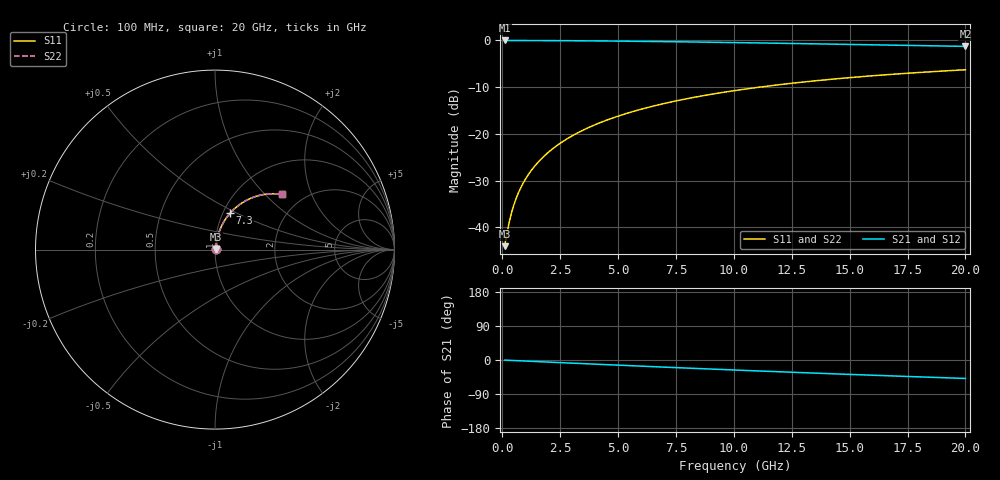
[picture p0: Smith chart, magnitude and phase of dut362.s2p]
! Touchstone file exported from HFSS 2026.1.0
!  File:  C:/ffzhzh/LocalFiles/Ansys_Project_Files/temp_train_TMRDL_362_1783004207_55676.aedt
!  Generated:  10:58:14 PM Jul  2, 2026
!  Design:  TMRDL
!  Project:  temp_train_TMRDL_362_1783004207_55676
! Variables:
!  h_bsmrdl = 2um
!  h_ox = 20um
!  h_rdl = 5um
!  h_sub = 80um
!  h_tmrdl = 3.93um
!  h_tsv = 80um
!  h_via = 3um
!  l_bsmrdl = 300um
!  l_sub = 1111.08um
!  l_tmrdl = 711.08um
!  m_sub = 200um
!  pitch = 38.19um
!  r_tsv = 6um
!  s_tmrdl = 10um
!  w_bsmrdl = 18um
!  w_sub = 500um
!  w_tmrdl = 12.11um
!  x_tsv_center1 = 717.135um
!  x_tsv_center2 = 1035.135um
!  x_tsv_center3 = 1758.325um
!  x_tsv_center4 = 2076.325um
!  x_tsv_center5 = 2799.515um
!  x_tsv_center6 = 3117.515um
# GHz S MA R 50.000000
! Terminal data exported
! Port[1] = TM_RDL1_1_T1
! Port[2] = TM_RDL1_1_T2
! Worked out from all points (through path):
!   200 points, 100 MHz to 20 GHz, reference 50 ohm
!   highest |S21| = -0.05 dB at 100 MHz (marker M1); lowest = -1.3 dB at 20 GHz (marker M2)
!   group delay of S21, straight-line fit = 6.77 ps
!   lowest |S11| = -44.0 dB at 100 MHz (marker M3), VSWR 1.01, Z = 50.5 + j0.336 ohm
!   |S11| at or under -10 dB: start of sweep to 11.16 GHz
!   |S22| runs from -44.0 to -6.3 dB; largest |S21 - S12| = 2.6e-15
!   S11 on the Smith chart (normalised r, x): 100 MHz: 1.01, +0.01; 7.3 GHz: 1.08, +0.46; 20 GHz: 1.57, +1.26
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0.1  0.006279 31.9  0.9947 -0.3  0.9947 -0.3  0.006279 31.9
! Gamma 0 0 0 0
! Port Impedance 50 0 50 0
0.2  0.008578 50.5  0.9946 -0.6  0.9946 -0.6  0.008578 50.5
0.3  0.01137 60.2  0.9944 -0.9  0.9944 -0.9  0.01137 60.2
0.4  0.01434 65.7  0.9943 -1.1  0.9943 -1.1  0.01434 65.7
0.5  0.01736 69.2  0.9941 -1.4  0.9941 -1.4  0.01736 69.2
0.6  0.02041 71.6  0.9939 -1.7  0.9939 -1.7  0.02041 71.6
0.8  0.02655 74.6  0.9936 -2.2  0.9936 -2.2  0.02655 74.6
1.1  0.0358 76.8  0.9932 -3.1  0.9932 -3.1  0.0358 76.8
1.3  0.04199 77.6  0.9928 -3.6  0.9928 -3.6  0.04199 77.6
1.6  0.05129 78.2  0.9922 -4.4  0.9922 -4.4  0.05129 78.2
2.1  0.06679 78.3  0.991 -5.8  0.991 -5.8  0.06679 78.3
2.7  0.08529 77.7  0.9892 -7.5  0.9892 -7.5  0.08529 77.7
3.5  0.1097 76.3  0.9863 -9.6  0.9863 -9.6  0.1097 76.3
4.2  0.1307 74.9  0.9832 -11.5  0.9832 -11.5  0.1307 74.9
5  0.1543 73.0  0.9791 -13.6  0.9791 -13.6  0.1543 73.0
6.8  0.2054 68.7  0.9682 -18.3  0.9682 -18.3  0.2054 68.7
7.3  0.219 67.5  0.9649 -19.6  0.9649 -19.6  0.219 67.5
8.6  0.2534 64.4  0.9555 -22.9  0.9555 -22.9  0.2534 64.4
10.1  0.291 60.8  0.9439 -26.6  0.9439 -26.6  0.291 60.9
13.4  0.3659 53.3  0.9163 -34.4  0.9163 -34.4  0.3659 53.3
16.7  0.4298 46.2  0.8876 -41.8  0.8876 -41.8  0.4298 46.2
20  0.4832 39.5  0.8598 -48.7  0.8598 -48.7  0.4832 39.5
